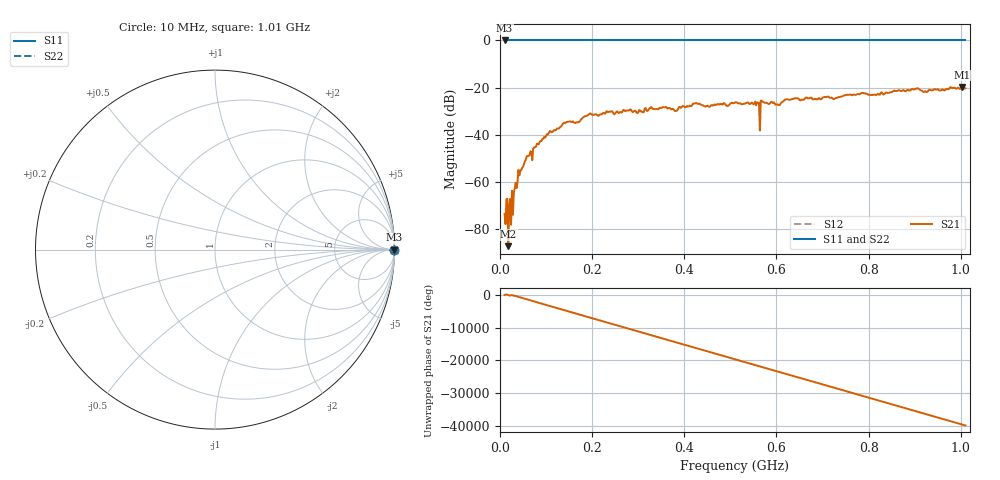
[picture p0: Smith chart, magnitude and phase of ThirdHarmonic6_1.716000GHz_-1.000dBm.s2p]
! 8/16/2025 8:39:07 PM
! C:\ANRITSUVNA\TEMP\TEMP.S2P
! CHANNEL.1
! TR.MEASUREMENT
! RAW.DATA
! RF.CORRECTION.OFF
! AVERAGING.OFF
! IF.BANDWIDTH: 5KHZ
! SWEEPTYPE:  FREQ.SWEEP(Linear)
! Reference Plane Port Info
! PORT:  PORT1  PORT2
! DISTANCE:  0  m  0  m
! TIME:  0  s  0  s
! PHASE.OFFSET:  0  deg.  0  deg.
! LOSS:  0  dB  0  dB
! REF.LOSS:  0  dB  0  dB
! REF.FREQ:  0  Hz  0  Hz
! Power Info
! POWER:  -20  dBm  -20  dBm
! EFF.POWER:  -20  dBm  -20  dBm
! SOURCE.ATTEN:  0  dB  0  dB
! TEST.ATTEN:  0  dB  0  dB
# GHZ S RI R 50.0
! FREQ.GHZ  S11RE  S11IM  S21RE  S21IM  S12RE  S12IM  S22RE  S22IM
!; PortSelection: Port_12
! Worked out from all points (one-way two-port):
!   501 points, 10 MHz to 1.01 GHz, reference 50 ohm
!   highest |S21| = -19.74 dB at 1.002 GHz (marker M1); lowest = -87.3 dB at 18 MHz (marker M2)
!   lowest |S11| = 0.0 dB at 10 MHz (marker M3)
!   |S11| at or under -10 dB: nowhere
!   |S22| runs from 0.0 to 0.0 dB; largest |S21 - S12| = 1.1
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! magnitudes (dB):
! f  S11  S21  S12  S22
! 10 MHz  0.0  -73.6  0.0  0.0
! 18 MHz  0.0  -87.3  0.0  0.0
! 20 MHz  0.0  -70.6  0.0  0.0
! 28 MHz  0.0  -74.0  0.0  0.0
! 30 MHz  0.0  -64.6  0.0  0.0
! 44 MHz  0.0  -55.3  0.0  0.0
! 76 MHz  0.0  -45.4  0.0  0.0
! 140 MHz  0.0  -34.9  0.0  0.0
! 178 MHz  0.0  -33.1  0.0  0.0
! 234 MHz  0.0  -30.4  0.0  0.0
! 344 MHz  0.0  -29.1  0.0  0.0
! 510 MHz  0.0  -26.3  0.0  0.0
! 558 MHz  0.0  -26.3  0.0  0.0
! 560 MHz  0.0  -26.6  0.0  0.0
! 568 MHz  0.0  -25.6  0.0  0.0
! 570 MHz  0.0  -25.9  0.0  0.0
! 602 MHz  0.0  -27.1  0.0  0.0
! 622 MHz  0.0  -25.0  0.0  0.0
! 678 MHz  0.0  -25.0  0.0  0.0
! 844 MHz  0.0  -22.2  0.0  0.0
! 1.002 GHz  0.0  -19.7  0.0  0.0
! 1.01 GHz  0.0  -20.3  0.0  0.0
